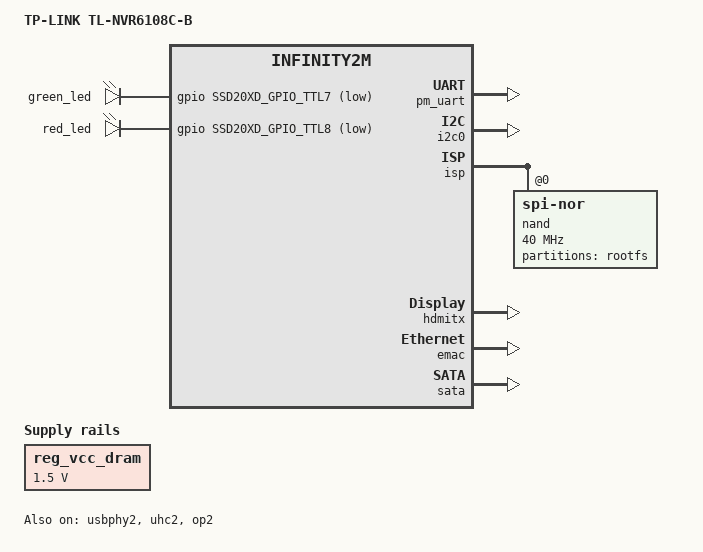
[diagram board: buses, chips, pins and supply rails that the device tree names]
// SPDX-License-Identifier: GPL-2.0-or-later
/*
 * Copyright (c) 2021 thingy.jp.
 * Author: Daniel Palmer <daniel@thingy.jp>
 */

/dts-v1/;
#include "mstar-infinity2m-ssd203d.dtsi"

#include <dt-bindings/gpio/gpio.h>
#include <dt-bindings/leds/common.h>
#include <dt-bindings/clock/mstar-msc313-clkgen.h>

/ {
	model = "TP-LINK TL-NVR6108C-B";
	compatible = "tp-link,tl-nvr6108c-b", "mstar,infinity2m";

	aliases {
		serial0 = &pm_uart;
	};

	chosen {
		stdout-path = "serial0:115200n8";
		bootargs = "console=tty0 console=ttyS0,115200 clk_ignore_unused earlyprintk";
	};

	reg_vcc_dram: regulator-vcc-dram {
		compatible = "regulator-fixed";
		regulator-name = "vcc_dram";
		regulator-min-microvolt = <1500000>;
		regulator-max-microvolt = <1500000>;
		regulator-boot-on;
	};

// This doesn't seem to work: As soon as the pin becomes an output
// the supply goes to ~1v and setting it low or high doesn't bring
// it back down
#if 0
	reg_vcc_core: regulator-vcc-core {
		compatible = "regulator-gpio";
		regulator-name = "vcc_core";
		regulator-type = "voltage";
		regulator-min-microvolt = <900000>;
		regulator-max-microvolt = <1000000>;
		regulator-boot-on;
		regulator-ramp-delay = <12000>;
		gpios = <&sar 1 0>;
		states = <1000000 0x1
				  900000  0x0>;
	};
#endif

	leds {
		compatible = "gpio-leds";
		green_led {
			gpios = <&gpio SSD20XD_GPIO_TTL7 GPIO_ACTIVE_LOW>;
			linux,default-trigger = "heartbeat";
		};
		red_led {
			gpios = <&gpio SSD20XD_GPIO_TTL8 GPIO_ACTIVE_LOW>;
		};
	};
};

&cpu0 {
//	cpu-supply = <&reg_vcc_core>;
};

&cpu1 {
//	cpu-supply = <&reg_vcc_core>;
};

&pm_uart {
	status = "okay";
};

&i2c0 {
	pinctrl-names = "default";
	pinctrl-0 = <&i2c0_mode1_pins>;
	status = "okay";
};

&isp {
	status = "okay";
	nand: nand@0 {
		#address-cells = <1>;
		#size-cells = <1>;
		compatible = "jedec,spi-nor";
		reg = <0>;
		spi-max-frequency = <40000000>;
		spi-rx-bus-width = <4>;
		partitions {
			compatible = "fixed-partitions";
			#address-cells = <1>;
			#size-cells = <1>;
			rootfs: rootfs@20bc00 {
				label = "rootfs";
				reg = <0x20bc00 0xda0000>;
			};
		};
	};
};

// Enabling this causes an interrupt storm
&usbphy1 {
//	status = "okay";
};

&uhc1 {
///	status = "okay";
};
//

&usbphy2 {
	status = "okay";
};

&uhc2 {
	status = "okay";
};

&miu {
	ddr-supply = <&reg_vcc_dram>;
};

&op2 {
	status = "okay";
};

&hdmitx {
	status = "okay";
	ddc-i2c-bus = <&i2c0>;
};

&op2_hdmitx {
	remote-endpoint = <&hdmitx_in>;
};

&emac {
	/delete-property/ pinctrl-names;
	/delete-property/ pinctrl-0;
	status = "okay";
};

&sata {
	assigned-clocks = <&clkgen MSC313_CLKGEN_MUXES SSD20XD_CLKGEN_SATA 0>;
	assigned-clock-parents = <&clkgen MSC313_CLKGEN_GATES MSC313_CLKGEN_GATE_8 0>;
	status = "okay";
};
